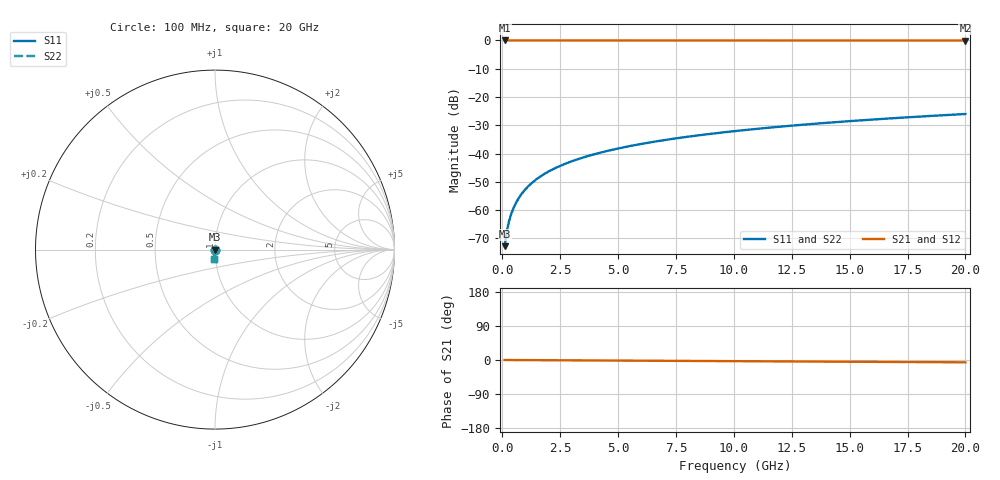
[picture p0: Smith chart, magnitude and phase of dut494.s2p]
! Touchstone file exported from HFSS 2026.1.0
!  File:  C:/ffzhzh/LocalFiles/Ansys_Project_Files/temp_train_TSV_494_1783022888_55676.aedt
!  Generated:  04:10:00 AM Jul  3, 2026
!  Design:  TSV
!  Project:  temp_train_TSV_494_1783022888_55676
! Variables:
!  h_bsmrdl = 2um
!  h_ox = 20um
!  h_rdl = 5um
!  h_sub = 55.62um
!  h_tmrdl = 5um
!  h_tsv = 55.62um
!  h_via = 3um
!  l_bsmrdl = 300um
!  l_sub = 422.44um
!  l_tmrdl = 200um
!  m_sub = 200um
!  pitch = 30.15um
!  r_tsv = 11.22um
!  s_tmrdl = 10um
!  w_bsmrdl = 18um
!  w_sub = 500um
!  w_tmrdl = 12um
!  x_tsv_center1 = 206um
!  x_tsv_center2 = 524um
!  x_tsv_center3 = 736um
!  x_tsv_center4 = 1054um
!  x_tsv_center5 = 1266um
!  x_tsv_center6 = 1584um
# GHz S MA R 50.000000
! Terminal data exported
! Port[1] = TSV1_1_T1
! Port[2] = TSV1_1_T2
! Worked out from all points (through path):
!   200 points, 100 MHz to 20 GHz, reference 50 ohm
!   highest |S21| = 0.00 dB at 100 MHz (marker M1); lowest = 0.0 dB at 20 GHz (marker M2)
!   lowest |S11| = -72.8 dB at 100 MHz (marker M3), VSWR 1.00, Z = 50 - j0.0211 ohm
!   |S11| at or under -10 dB: start of sweep to end of sweep
!   |S22| runs from -72.8 to -26.0 dB; largest |S21 - S12| = 3.2e-15
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0.1  0.0002298 -66.5  0.9999 -0.0  0.9999 -0.0  0.0002298 -66.5
! Gamma 0 0 0 0
! Port Impedance 50 0 50 0
0.2  0.0004378 -76.2  0.9999 -0.1  0.9999 -0.1  0.0004378 -76.2
0.3  0.0006572 -79.2  0.9999 -0.1  0.9999 -0.1  0.0006572 -79.2
0.4  0.0008846 -80.6  0.9999 -0.1  0.9999 -0.1  0.0008846 -80.6
0.5  0.001119 -81.5  0.9998 -0.2  0.9998 -0.2  0.001119 -81.5
0.7  0.0016 -82.7  0.9998 -0.2  0.9998 -0.2  0.0016 -82.7
0.8  0.001844 -83.2  0.9998 -0.3  0.9998 -0.3  0.001844 -83.2
1  0.002337 -84.1  0.9997 -0.3  0.9997 -0.3  0.002337 -84.1
1.2  0.002832 -84.8  0.9997 -0.4  0.9997 -0.4  0.002832 -84.8
1.4  0.003327 -85.3  0.9997 -0.4  0.9997 -0.4  0.003327 -85.3
1.7  0.00407 -86.0  0.9997 -0.5  0.9997 -0.5  0.00407 -86.0
2  0.004813 -86.6  0.9996 -0.6  0.9996 -0.6  0.004813 -86.6
2.7  0.006546 -87.5  0.9996 -0.8  0.9996 -0.8  0.006546 -87.5
3.5  0.008531 -88.2  0.9995 -1.1  0.9995 -1.1  0.008531 -88.2
4.2  0.01027 -88.7  0.9995 -1.3  0.9995 -1.3  0.01027 -88.7
5  0.01227 -89.1  0.9994 -1.5  0.9994 -1.5  0.01227 -89.1
6.8  0.01678 -90.0  0.9992 -2.1  0.9992 -2.1  0.01678 -90.0
8.3  0.02055 -90.7  0.9991 -2.6  0.9991 -2.6  0.02055 -90.7
10.1  0.02509 -91.4  0.9989 -3.1  0.9989 -3.1  0.02509 -91.4
13.4  0.03339 -92.6  0.9986 -4.1  0.9986 -4.1  0.03339 -92.6
16.7  0.0417 -93.8  0.9982 -5.1  0.9982 -5.1  0.0417 -93.8
20  0.05001 -94.9  0.9977 -6.1  0.9977 -6.1  0.05001 -94.9
